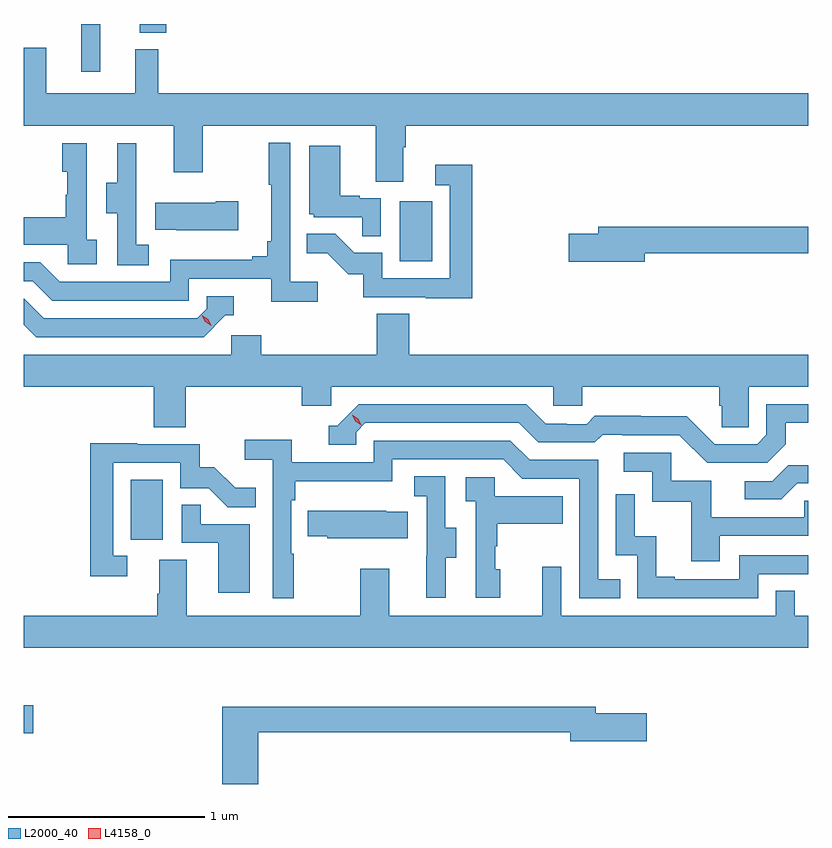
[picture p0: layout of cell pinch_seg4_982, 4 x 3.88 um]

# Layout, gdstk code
import gdstk
lib = gdstk.Library(unit=1e-6, precision=1e-09)
def R(c, l, rs):  # rectangles x0, y0, x1, y1
    for r in rs: c.add(gdstk.rectangle(r[:2], r[2:], *l))
def P(c, l, *ps):  # polygons
    for p in ps: c.add(gdstk.Polygon(p, *l))
L2000_40 = (2000, 40)
L4158_0 = (4158, 0)

pinch_seg4_982 = lib.new_cell('pinch_seg4_982')
R(pinch_seg4_982, L2000_40, [(878.95,773.741,878.998,773.883), (879.494,774.726,879.658,775.033), (880.868,776.148,881.032,776.455), (879.242,777.114,879.339,777.358), (879.542,777.314,879.677,777.358)])
P(pinch_seg4_982, L2000_40, [(880.885,776.728),(880.898,776.728),(880.898,776.84),(882.95,776.84),(882.95,777.004),(879.635,777.004),(879.635,777.229),(879.518,777.229),(879.518,777.004),(879.065,777.004),(879.065,777.238),(878.95,777.238),(878.95,776.84),(879.713,776.84),(879.713,776.601),(879.861,776.601),(879.861,776.84),(880.745,776.84),(880.745,776.554),(880.885,776.554)],
  [(880.45,776.044),(880.308,776.044),(880.308,776.752),(880.2,776.752),(880.2,776.539),(880.211,776.539),(880.211,776.251),(880.192,776.251),(880.192,776.174),(880.115,776.174),(880.115,776.155),(879.696,776.155),(879.696,776.043),(879.132,776.043),(879.033,776.142),(878.95,776.142),(878.95,776.046),(878.996,776.046),(879.095,775.947),(879.792,775.947),(879.792,776.058),(880.211,776.058),(880.211,775.942),(880.45,775.942)],
  [(879.322,776.258),(879.27,776.258),(879.27,776.749),(879.146,776.749),(879.146,776.604),(879.172,776.604),(879.172,776.486),(879.162,776.486),(879.162,776.371),(878.95,776.371),(878.95,776.231),(879.174,776.231),(879.174,776.133),(879.322,776.133)],
  [(879.586,776.231),(879.522,776.231),(879.522,776.535),(879.524,776.535),(879.524,776.749),(879.425,776.749),(879.425,776.547),(879.371,776.547),(879.371,776.392),(879.426,776.392),(879.426,776.128),(879.586,776.128)],
  [(880.77,776.469),(880.664,776.469),(880.664,776.482),(880.564,776.482),(880.564,776.737),(880.406,776.737),(880.406,776.388),(880.428,776.388),(880.428,776.373),(880.675,776.373),(880.675,776.275),(880.77,776.275)],
  [(881.237,776.641),(881.049,776.641),(881.049,776.535),(881.121,776.535),(881.121,776.061),(880.779,776.061),(880.779,776.19),(880.635,776.19),(880.537,776.288),(880.393,776.288),(880.393,776.189),(880.497,776.189),(880.604,776.082),(880.681,776.082),(880.681,775.965),(880.999,775.965),(880.999,775.96),(881.237,775.96)],
  [(880.042,776.454),(879.929,776.454),(879.929,776.446),(879.619,776.446),(879.619,776.309),(879.727,776.309),(879.727,776.306),(880.042,776.306)],
  [(882.118,776.188),(882.95,776.188),(882.95,776.324),(881.879,776.324),(881.879,776.288),(881.73,776.288),(881.73,776.146),(882.118,776.146)],
  [(879.978,775.872),(880.021,775.872),(880.021,775.968),(879.882,775.968),(879.882,775.905),(879.834,775.857),(879.051,775.857),(878.952,775.956),(878.95,775.956),(878.95,775.825),(879.014,775.761),(879.867,775.761)],
  [(880.916,775.88),(880.751,775.88),(880.751,775.672),(880.16,775.672),(880.16,775.77),(880.008,775.77),(880.008,775.672),(878.95,775.672),(878.95,775.508),(879.611,775.508),(879.611,775.3),(879.776,775.3),(879.776,775.508),(880.367,775.508),(880.367,775.41),(880.518,775.41),(880.518,775.508),(881.649,775.508),(881.649,775.41),(881.799,775.41),(881.799,775.508),(882.497,775.508),(882.497,775.41),(882.511,775.41),(882.511,775.3),(882.648,775.3),(882.648,775.508),(882.95,775.508),(882.95,775.672),(880.916,775.672)],
  [(882.835,775.213),(882.835,775.323),(882.95,775.323),(882.95,775.419),(882.738,775.419),(882.738,775.263),(882.69,775.215),(882.474,775.215),(882.332,775.357),(882.096,775.357),(882.096,775.36),(881.863,775.36),(881.821,775.317),(881.718,775.317),(881.718,775.32),(881.611,775.32),(881.512,775.419),(880.659,775.419),(880.548,775.308),(880.505,775.308),(880.505,775.212),(880.644,775.212),(880.644,775.275),(880.692,775.323),(881.475,775.323),(881.574,775.224),(881.863,775.224),(881.902,775.263),(882.001,775.263),(882.001,775.26),(882.294,775.26),(882.435,775.119),(882.741,775.119)],
  [(880.327,774.656),(880.314,774.656),(880.314,774.929),(880.334,774.929),(880.334,775.025),(880.83,775.025),(880.83,775.137),(881.394,775.137),(881.493,775.038),(881.784,775.038),(881.784,774.429),(881.993,774.429),(881.993,774.525),(881.88,774.525),(881.88,775.134),(881.53,775.134),(881.431,775.233),(880.734,775.233),(880.734,775.122),(880.316,775.122),(880.316,775.238),(880.077,775.238),(880.077,775.136),(880.218,775.136),(880.218,774.429),(880.327,774.429)],
  [(879.478,774.645),(879.405,774.645),(879.405,775.119),(879.747,775.119),(879.747,774.99),(879.892,774.99),(879.99,774.892),(880.133,774.892),(880.133,774.991),(880.029,774.991),(879.922,775.098),(879.846,775.098),(879.846,775.215),(879.527,775.215),(879.527,775.22),(879.289,775.22),(879.289,774.54),(879.478,774.54)],
  [(882.499,774.747),(882.95,774.747),(882.95,774.927),(882.931,774.927),(882.931,774.843),(882.457,774.843),(882.457,775.029),(882.252,775.029),(882.252,775.17),(882.009,775.17),(882.009,775.074),(882.156,775.074),(882.156,774.921),(882.355,774.921),(882.355,774.618),(882.499,774.618)],
  [(882.895,775.014),(882.95,775.014),(882.95,775.106),(882.848,775.106),(882.768,775.026),(882.627,775.026),(882.627,774.933),(882.814,774.933)],
  [(881.101,774.634),(881.155,774.634),(881.155,774.789),(881.1,774.789),(881.1,775.052),(880.941,775.052),(880.941,774.949),(881.004,774.949),(881.004,774.645),(881.003,774.645),(881.003,774.432),(881.101,774.432)],
  [(881.38,774.576),(881.355,774.576),(881.355,774.695),(881.365,774.695),(881.365,774.809),(881.699,774.809),(881.699,774.949),(881.352,774.949),(881.352,775.047),(881.205,775.047),(881.205,774.923),(881.256,774.923),(881.256,774.432),(881.38,774.432)],
  [(882.696,774.552),(882.95,774.552),(882.95,774.648),(882.6,774.648),(882.6,774.525),(882.271,774.525),(882.271,774.538),(882.176,774.538),(882.176,774.746),(882.066,774.746),(882.066,774.958),(881.97,774.958),(881.97,774.648),(882.078,774.648),(882.078,774.429),(882.696,774.429)],
  [(880.102,774.807),(879.851,774.807),(879.851,774.905),(879.756,774.905),(879.756,774.711),(879.941,774.711),(879.941,774.456),(880.102,774.456)],
  [(880.907,774.871),(880.799,774.871),(880.799,774.874),(880.399,774.874),(880.399,774.745),(880.497,774.745),(880.497,774.734),(880.907,774.734)],
  [(880.666,774.58),(880.666,774.34),(879.781,774.34),(879.781,774.626),(879.641,774.626),(879.641,774.452),(879.629,774.452),(879.629,774.34),(878.95,774.34),(878.95,774.176),(882.95,774.176),(882.95,774.34),(882.882,774.34),(882.882,774.467),(882.786,774.467),(882.786,774.34),(881.691,774.34),(881.691,774.589),(881.594,774.589),(881.594,774.34),(880.813,774.34),(880.813,774.58)],
  [(880.145,773.746),(881.738,773.746),(881.738,773.699),(882.127,773.699),(882.127,773.841),(881.866,773.841),(881.866,773.875),(879.962,773.875),(879.962,773.481),(880.145,773.481)])
P(pinch_seg4_982, L4158_0, [(879.905,775.819),(879.874,775.838),(879.858,775.871),(879.858,775.871),(879.858,775.871),(879.889,775.852),(879.905,775.819),(879.905,775.819)],
  [(880.67,775.31),(880.639,775.331),(880.624,775.364),(880.624,775.364),(880.624,775.364),(880.655,775.344),(880.67,775.311),(880.67,775.31)])

lib.write_gds('pinch_seg4_982.gds')
